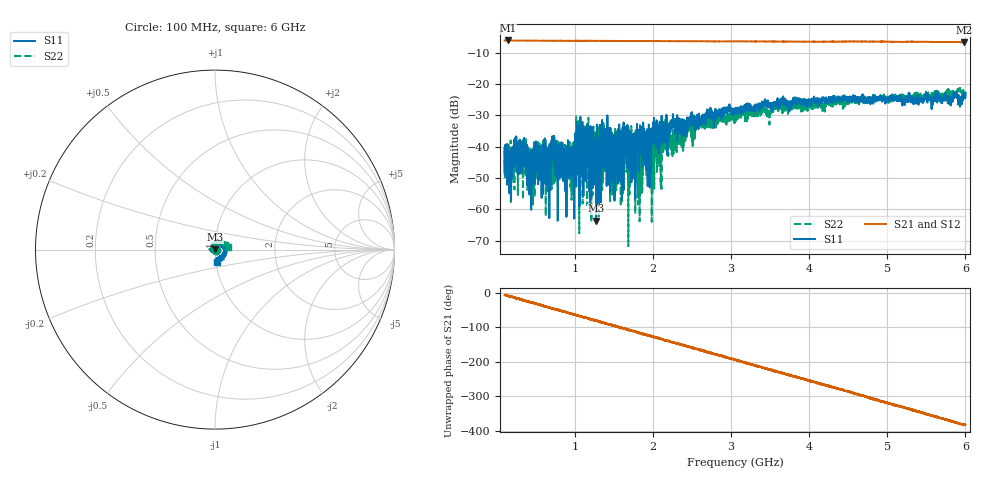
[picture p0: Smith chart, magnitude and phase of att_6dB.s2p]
#  HZ  S  DB  R  50.0
! Rohde & Schwarz ZVL6 2Ports - Version 3.32 - 1303.6509k06 SN: 102097
! Date: 2024-06-28 18:21:49
! Data & Calibration Information:
! Trc1:S11(TOSM) Trc3:S21(TOSM) Trc2:S12(TOSM) Trc4:S22(TOSM)
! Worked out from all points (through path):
!   4001 points, 100 MHz to 6 GHz, reference 50 ohm
!   highest |S21| = -6.02 dB at 142.8 MHz (marker M1); lowest = -6.6 dB at 5.987 GHz (marker M2)
!   group delay of S21, straight-line fit = 177 ps
!   lowest |S11| = -63.7 dB at 1.273 GHz (marker M3), VSWR 1.00, Z = 50 + j0.061 ohm
!   |S11| at or under -10 dB: start of sweep to end of sweep
!   |S22| runs from -71.8 to -21.0 dB; largest |S21 - S12| = 0.046
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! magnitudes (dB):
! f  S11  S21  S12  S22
! 100 MHz  -48.2  -6.1  -6.0  -46.0
! 142.8 MHz  -43.8  -6.0  -6.0  -45.2
! 235.7 MHz  -37.5  -6.1  -6.0  -46.4
! 417.1 MHz  -51.3  -6.1  -6.1  -40.8
! 496.8 MHz  -48.2  -6.1  -6.1  -50.7
! 648.7 MHz  -42.2  -6.1  -6.1  -43.7
! 726.9 MHz  -40.7  -6.1  -6.1  -51.8
! 878.8 MHz  -54.3  -6.1  -6.1  -42.6
! 1.084 GHz  -35.6  -6.2  -6.1  -34.7
! 1.273 GHz  -63.7  -6.2  -6.1  -44.0
! 1.419 GHz  -42.2  -6.2  -6.2  -39.1
! 1.506 GHz  -40.4  -6.2  -6.2  -39.7
! 1.74 GHz  -43.8  -6.2  -6.2  -50.3
! 1.835 GHz  -42.1  -6.2  -6.2  -43.6
! 1.898 GHz  -45.8  -6.2  -6.2  -35.6
! 2.068 GHz  -38.6  -6.2  -6.2  -44.8
! 2.59 GHz  -29.4  -6.3  -6.3  -32.6
! 3.05 GHz  -27.8  -6.3  -6.3  -32.0
! 4.034 GHz  -24.8  -6.4  -6.4  -27.5
! 5.018 GHz  -24.1  -6.4  -6.4  -24.7
! 5.987 GHz  -23.4  -6.6  -6.5  -22.1
! 6 GHz  -23.0  -6.6  -6.5  -22.9
